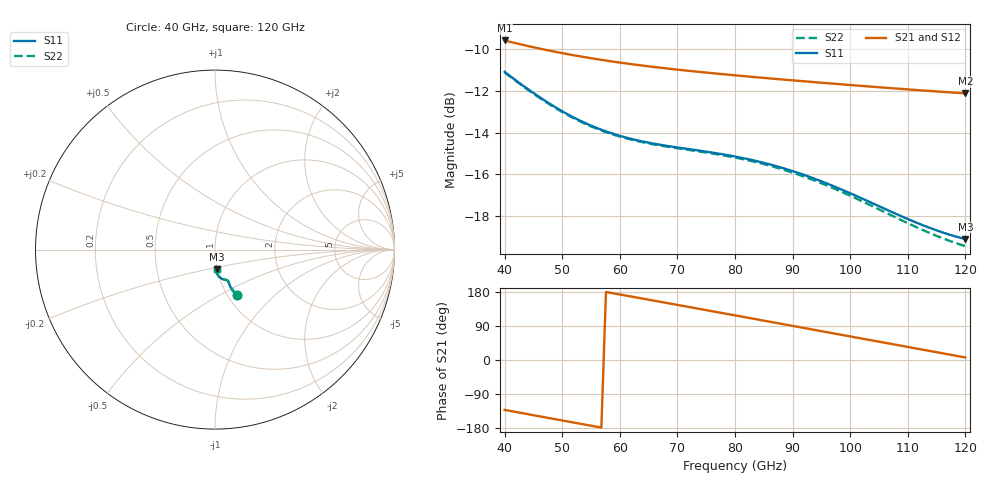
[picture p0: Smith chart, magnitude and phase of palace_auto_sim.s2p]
#  GHZ S DB R 50
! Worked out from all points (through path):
!   101 points, 40 GHz to 120 GHz, reference 50 ohm
!   highest |S21| = -9.58 dB at 40 GHz (marker M1); lowest = -12.1 dB at 120 GHz (marker M2)
!   group delay of S21, straight-line fit = 7.69 ps
!   lowest |S11| = -19.1 dB at 120 GHz (marker M3), VSWR 1.25, Z = 49.9 - j11.1 ohm
!   |S11| at or under -10 dB: start of sweep to end of sweep
!   |S22| runs from -19.4 to -11.1 dB; largest |S21 - S12| = 4.5e-14
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40  -11.09 -64.6  -9.58 -131.6  -9.58 -131.6  -11.11 -64.3
43.2  -11.75 -66.1  -9.80 -140.6  -9.80 -140.6  -11.78 -65.7
46.4  -12.36 -67.0  -9.99 -149.6  -9.99 -149.6  -12.40 -66.6
49.6  -12.91 -67.5  -10.17 -158.5  -10.17 -158.5  -12.95 -67.1
53.6  -13.49 -67.6  -10.37 -169.5  -10.37 -169.5  -13.53 -67.2
56.8  -13.86 -67.6  -10.51 -178.3  -10.51 -178.3  -13.90 -67.2
60  -14.16 -67.6  -10.64 172.9  -10.64 172.9  -14.19 -67.1
63.2  -14.38 -67.7  -10.76 164.1  -10.76 164.1  -14.42 -67.3
67.2  -14.59 -68.2  -10.90 153.1  -10.90 153.1  -14.63 -67.8
73.6  -14.86 -70.1  -11.09 135.5  -11.09 135.5  -14.90 -69.7
76.8  -14.99 -71.5  -11.17 126.6  -11.17 126.6  -15.04 -71.1
80  -15.15 -73.1  -11.25 117.8  -11.25 117.8  -15.20 -72.8
84  -15.38 -75.3  -11.35 106.7  -11.35 106.7  -15.44 -75.0
87.2  -15.61 -77.1  -11.43 97.8  -11.43 97.8  -15.68 -77.0
90.4  -15.88 -79.0  -11.50 88.9  -11.50 88.9  -15.96 -78.9
93.6  -16.19 -80.7  -11.58 80.0  -11.58 80.0  -16.28 -80.7
96.8  -16.54 -82.3  -11.65 71.1  -11.65 71.1  -16.64 -82.4
100  -16.91 -83.6  -11.72 62.2  -11.72 62.2  -17.03 -83.8
107.2  -17.80 -85.4  -11.87 42.2  -11.87 42.2  -17.98 -85.8
113.6  -18.55 -85.4  -12.00 24.4  -12.00 24.4  -18.79 -86.0
116.8  -18.86 -84.9  -12.06 15.6  -12.06 15.6  -19.15 -85.6
120  -19.11 -84.2  -12.12 6.7  -12.12 6.7  -19.45 -84.9
